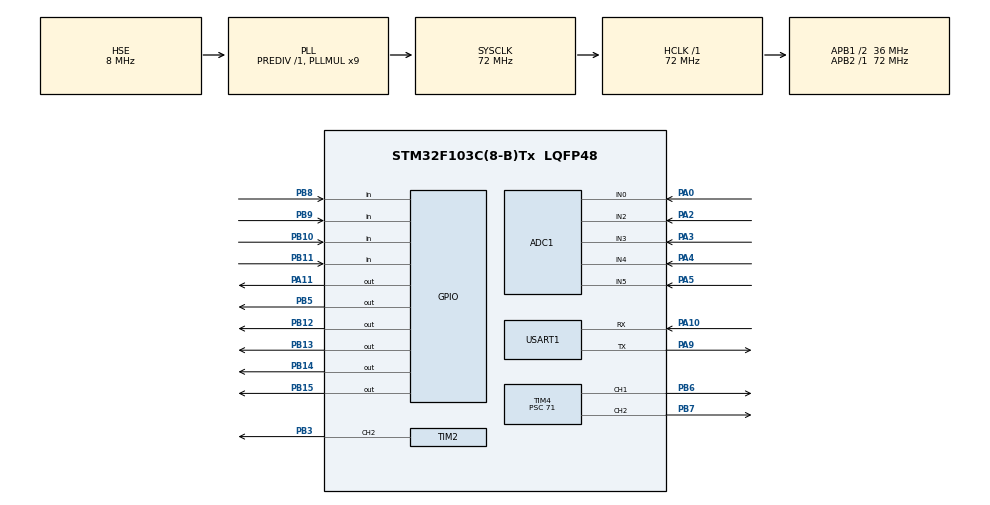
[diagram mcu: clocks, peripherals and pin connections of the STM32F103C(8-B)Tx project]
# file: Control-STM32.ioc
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ADC1.Channel-0\#ChannelRegularConversion=ADC_CHANNEL_0
ADC1.Channel-1\#ChannelRegularConversion=ADC_CHANNEL_2
ADC1.Channel-2\#ChannelRegularConversion=ADC_CHANNEL_3
ADC1.Channel-3\#ChannelRegularConversion=ADC_CHANNEL_4
ADC1.Channel-4\#ChannelRegularConversion=ADC_CHANNEL_5
ADC1.ContinuousConvMode=ENABLE
ADC1.NbrOfConversion=5
ADC1.NbrOfConversionFlag=1
ADC1.Rank-0\#ChannelRegularConversion=1
ADC1.Rank-1\#ChannelRegularConversion=2
ADC1.Rank-2\#ChannelRegularConversion=3
ADC1.Rank-3\#ChannelRegularConversion=4
ADC1.Rank-4\#ChannelRegularConversion=5
ADC1.SamplingTime-0\#ChannelRegularConversion=ADC_SAMPLETIME_71CYCLES_5
ADC1.SamplingTime-1\#ChannelRegularConversion=ADC_SAMPLETIME_71CYCLES_5
ADC1.SamplingTime-2\#ChannelRegularConversion=ADC_SAMPLETIME_71CYCLES_5
ADC1.SamplingTime-3\#ChannelRegularConversion=ADC_SAMPLETIME_71CYCLES_5
ADC1.SamplingTime-4\#ChannelRegularConversion=ADC_SAMPLETIME_71CYCLES_5
ADC1.master=1
Dma.ADC1.0.Direction=DMA_PERIPH_TO_MEMORY
Dma.ADC1.0.Instance=DMA1_Channel1
Dma.ADC1.0.MemDataAlignment=DMA_MDATAALIGN_HALFWORD
Dma.ADC1.0.MemInc=DMA_MINC_ENABLE
Dma.ADC1.0.Mode=DMA_CIRCULAR
Dma.ADC1.0.PeriphDataAlignment=DMA_PDATAALIGN_HALFWORD
Dma.ADC1.0.PeriphInc=DMA_PINC_DISABLE
Dma.ADC1.0.Priority=DMA_PRIORITY_LOW
Dma.Request0=ADC1
Mcu.Family=STM32F1
Mcu.Name=STM32F103C(8-B)Tx
Mcu.Package=LQFP48
NVIC.DMA1_Channel1_IRQn=true\:0\:0\:false\:false\:true\:false\:true\:true
NVIC.PriorityGroup=NVIC_PRIORITYGROUP_4
NVIC.USART1_IRQn=true\:0\:0\:false\:false\:true\:true\:true\:true
PA0-WKUP.Signal=ADCx_IN0
PA10.Mode=Asynchronous
PA10.Signal=USART1_RX
PA11.Signal=GPIO_Output
PA13.Mode=Serial_Wire
PA13.Signal=SYS_JTMS-SWDIO
PA14.Mode=Serial_Wire
PA14.Signal=SYS_JTCK-SWCLK
PA2.Signal=ADCx_IN2
PA3.Signal=ADCx_IN3
PA4.Signal=ADCx_IN4
PA5.Signal=ADCx_IN5
PA9.Mode=Asynchronous
PA9.Signal=USART1_TX
PB10.Signal=GPIO_Input
PB11.Signal=GPIO_Input
PB12.Signal=GPIO_Output
PB13.Signal=GPIO_Output
PB14.Signal=GPIO_Output
PB15.Signal=GPIO_Output
PB3.Signal=S_TIM2_CH2
PB5.Signal=GPIO_Output
PB6.Signal=S_TIM4_CH1
PB7.Signal=S_TIM4_CH2
PB8.Signal=GPIO_Input
PB9.Signal=GPIO_Input
PD0-OSC_IN.Mode=HSE-External-Oscillator
PD0-OSC_IN.Signal=RCC_OSC_IN
PD1-OSC_OUT.Mode=HSE-External-Oscillator
PD1-OSC_OUT.Signal=RCC_OSC_OUT
ProjectManager.HeapSize=0x200
ProjectManager.StackSize=0x400
ProjectManager.TargetToolchain=CMake
RCC.ADCPresc=RCC_ADCPCLK2_DIV6
RCC.AHBFreq_Value=72000000
RCC.APB1CLKDivider=RCC_HCLK_DIV2
RCC.APB1Freq_Value=36000000
RCC.APB1TimFreq_Value=72000000
RCC.APB2Freq_Value=72000000
RCC.APB2TimFreq_Value=72000000
RCC.HCLKFreq_Value=72000000
RCC.PLLMUL=RCC_PLL_MUL9
RCC.PLLSourceVirtual=RCC_PLLSOURCE_HSE
RCC.SYSCLKFreq_VALUE=72000000
RCC.SYSCLKSource=RCC_SYSCLKSOURCE_PLLCLK
RCC.USBFreq_Value=72000000
SH.ADCx_IN0.0=ADC1_IN0,IN0
SH.ADCx_IN2.0=ADC1_IN2,IN2
SH.ADCx_IN3.0=ADC1_IN3,IN3
SH.ADCx_IN4.0=ADC1_IN4,IN4
SH.ADCx_IN5.0=ADC1_IN5,IN5
SH.S_TIM2_CH2.0=TIM2_CH2,PWM Generation2 CH2
SH.S_TIM4_CH1.0=TIM4_CH1,PWM Generation1 CH1
SH.S_TIM4_CH2.0=TIM4_CH2,PWM Generation2 CH2
TIM2.Channel-PWM\ Generation2\ CH2=TIM_CHANNEL_2
TIM2.Period=19999
TIM2.Prescaler=71
TIM3.Period=65535
TIM3.Prescaler=71
TIM4.Channel-PWM\ Generation1\ CH1=TIM_CHANNEL_1
TIM4.Channel-PWM\ Generation2\ CH2=TIM_CHANNEL_2
TIM4.Period=999
TIM4.Prescaler=71
USART1.VirtualMode=VM_ASYNC
VP_TIM2_VS_ClockSourceINT.Mode=Internal
VP_TIM3_VS_ClockSourceINT.Mode=Internal
VP_TIM4_VS_ClockSourceINT.Mode=Internal
board=custom

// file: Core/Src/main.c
/* USER CODE BEGIN Header */
  /**
    ******************************************************************************
    * @file           : main.c
    * @brief          : Main program body
    ******************************************************************************
    * @attention
    *
    * Copyright (c) 2026 STMicroelectronics.
    * All rights reserved.
    *
    * This software is licensed under terms that can be found in the LICENSE file
    * in the root directory of this software component.
    * If no LICENSE file comes with this software, it is provided AS-IS.
    *
    ******************************************************************************
    */
/* USER CODE END Header */
#include "main.h"
#include "string.h"
#include "stdio.h"
#include "math.h"

/* USER CODE BEGIN PD */
  #define IN1_PORT GPIOB
  #define IN1_PIN  GPIO_PIN_12
  #define IN2_PORT GPIOB
  #define IN2_PIN  GPIO_PIN_13
  #define IN3_PORT GPIOB
  #define IN3_PIN  GPIO_PIN_14
  #define IN4_PORT GPIOB
  #define IN4_PIN  GPIO_PIN_15

  #define RELAY_PORT GPIOA
  #define RELAY_PIN  GPIO_PIN_11

  #define TRIG_PORT GPIOB
  #define TRIG_PIN  GPIO_PIN_5

  #define ECHO1_PORT GPIOB
  #define ECHO1_PIN  GPIO_PIN_11

  #define ECHO2_PORT GPIOB
  #define ECHO2_PIN  GPIO_PIN_10

  #define ECHO3_PORT GPIOB
  #define ECHO3_PIN  GPIO_PIN_9

  #define ECHO4_PORT GPIOB
  #define ECHO4_PIN  GPIO_PIN_8
/* USER CODE END PD */

/* USER CODE BEGIN PM */
  #define NGUONG_DAP_LUA   4000
  #define NGUONG_THEO_LUA  1500
  #define LUA_ADC_GIAM_KHI_SANG 1
  #define LUA_DELTA_MIN    150
  uint16_t adc_tinh[5] = {0};
  float lua_loc[5] = {0};
  float TRONG_SO[5] = {-2.0, -1.0, 0.0, 1.0, 2.0};
  uint16_t gia_tri_adc[5];
  float goc_lech = 0;
  float cuong_do = 0;

  uint16_t kc_truoc = 0;
  uint16_t kc_trai = 0;
  uint16_t kc_phai = 0;
  uint16_t kc_sau = 0;
  int pwm_motor_trai = 0;
  int pwm_motor_phai = 0;
/* USER CODE END PM */

ADC_HandleTypeDef hadc1;
DMA_HandleTypeDef hdma_adc1;

TIM_HandleTypeDef htim2;
TIM_HandleTypeDef htim3;
TIM_HandleTypeDef htim4;

UART_HandleTypeDef huart1;

/* USER CODE BEGIN PV */
volatile char lenh_dieu_khien = '1';
uint32_t flame_sensor = 0;
uint32_t sieu_am = 0;
uint32_t gui_esp32 = 0;
/* USER CODE END PV */

void SystemClock_Config(void);
static void MX_GPIO_Init(void);
static void MX_DMA_Init(void);
static void MX_ADC1_Init(void);
static void MX_TIM2_Init(void);
static void MX_TIM3_Init(void);
static void MX_TIM4_Init(void);
static void MX_USART1_UART_Init(void);
  /* USER CODE BEGIN PFP */
  void do_lech(void);
  void Cap_nhat_servo_lua(void);
  void Di_chuyen(int v_L, int v_R);
  void Send_ESP32_Data(void);
  uint16_t HCSR04_Read_PB5(uint8_t id);
  void delay_us(uint16_t us);
  void Thuat_toan_vat_can(uint16_t d_trai, uint16_t d_truoc, uint16_t d_phai, uint16_t d_sau);
/* USER CODE END PFP */

int main(void)
{

  /* MCU Configuration--------------------------------------------------------*/

  /* Reset of all peripherals, Initializes the Flash interface and the Systick. */
  HAL_Init();

  /* Configure the system clock */
  SystemClock_Config();

  /* Initialize all configured peripherals */
  MX_GPIO_Init();
  MX_DMA_Init();
  MX_ADC1_Init();
  MX_TIM2_Init();
  MX_TIM3_Init();
  MX_TIM4_Init();
  MX_USART1_UART_Init();
  /* USER CODE BEGIN 2 */
  HAL_TIM_Base_Start(&htim3);
  HAL_ADC_Start_DMA(&hadc1, (uint32_t*)gia_tri_adc, 5);
  __HAL_AFIO_REMAP_SWJ_NOJTAG();
  HAL_TIM_PWM_Start(&htim2, TIM_CHANNEL_2);
  HAL_TIM_PWM_Start(&htim4, TIM_CHANNEL_1);
  HAL_TIM_PWM_Start(&htim4, TIM_CHANNEL_2);

  HAL_UART_Receive_IT(&huart1, (uint8_t*)&lenh_dieu_khien, 1);
  /* USER CODE END 2 */
  /* Infinite loop */
  /* USER CODE BEGIN WHILE */
  uint32_t thoi_gian_phun_nuoc = 0;
  uint32_t thoi_gian_cho_phun_lai = 0;
  uint8_t dang_phun_nuoc = 0;
  HAL_Delay(500);
  uint32_t sum[5] = {0};
  for (int s = 0; s < 100; s++) {
      for (int i = 0; i < 5; i++)
          sum[i] += gia_tri_adc[i];
      HAL_Delay(100);
  }
  for (int i = 0; i < 5; i++)
      adc_tinh[i] = sum[i] / 100;
    while (1)
    {
    uint32_t hien_tai = HAL_GetTick();
    if(hien_tai-flame_sensor >=20){
     do_lech();
     flame_sensor=hien_tai;
    }
    if(hien_tai-sieu_am >= 40)
    {
      static uint8_t step=1;
      if (step==1) kc_truoc = HCSR04_Read_PB5(1);
      else if (step==2) kc_trai = HCSR04_Read_PB5(2);
      else if (step==3) kc_phai = HCSR04_Read_PB5(3);
      else if (step==4) kc_sau = HCSR04_Read_PB5(4);
      step++; if (step > 4) step = 1;
      sieu_am = hien_tai;
    }
    if(hien_tai-gui_esp32 >= 150){
      Send_ESP32_Data();
      gui_esp32 = hien_tai;
     }
    if (lenh_dieu_khien == '1' )
      {
      if (cuong_do > NGUONG_THEO_LUA)
          {
              Cap_nhat_servo_lua();
          }

      if (dang_phun_nuoc)
          {
              Di_chuyen(0, 0);
              if (hien_tai - thoi_gian_phun_nuoc >= 1500)
              {
                  HAL_GPIO_WritePin(RELAY_PORT, RELAY_PIN, GPIO_PIN_RESET);
                  dang_phun_nuoc = 0;
                  thoi_gian_phun_nuoc = 0;
                  thoi_gian_cho_phun_lai = hien_tai;
              }
          }
      else if (cuong_do > NGUONG_DAP_LUA &&
               hien_tai - thoi_gian_cho_phun_lai >= 700)
          {
              Di_chuyen(0, 0);
              HAL_GPIO_WritePin(RELAY_PORT, RELAY_PIN, GPIO_PIN_SET);
              thoi_gian_phun_nuoc = hien_tai;
              dang_phun_nuoc = 1;
          }
      else if (cuong_do > NGUONG_DAP_LUA)
          {
              HAL_GPIO_WritePin(RELAY_PORT, RELAY_PIN, GPIO_PIN_RESET);
              Di_chuyen(0, 0);
          }
      else if (cuong_do > NGUONG_THEO_LUA)
          {
            HAL_GPIO_WritePin(RELAY_PORT, RELAY_PIN, GPIO_PIN_RESET);

              int chenh_lech = (int)(goc_lech * 9.0f);
              if (chenh_lech > 320) chenh_lech = 320;
              if (chenh_lech < -320) chenh_lech = -320;

              int v_L = 580 + chenh_lech;
              int v_R = 580 - chenh_lech;
              if (v_L > 850) v_L = 850;
              if (v_L < 250) v_L = 250;
              if (v_R > 850) v_R = 850;
              if (v_R < 250) v_R = 250;
              Di_chuyen(v_L, v_R);

          }
          else
          {

              HAL_GPIO_WritePin(RELAY_PORT, RELAY_PIN, GPIO_PIN_RESET);
              __HAL_TIM_SET_COMPARE(&htim2, TIM_CHANNEL_2, 1500);

              Thuat_toan_vat_can(kc_trai, kc_truoc, kc_phai, kc_sau);
          }
    }
    else
    {
      dang_phun_nuoc = 0;
      thoi_gian_phun_nuoc = 0;
      if (lenh_dieu_khien != 'P') HAL_GPIO_WritePin(RELAY_PORT, RELAY_PIN, GPIO_PIN_RESET);

      if (lenh_dieu_khien == 'F')
      {
          Di_chuyen(600, 600);
      }
      else if (lenh_dieu_khien == 'B')
      {
          Di_chuyen(-600, -600);
      }
      else if (lenh_dieu_khien == 'L')
      {
          Di_chuyen(-600, 600);
      }
      else if (lenh_dieu_khien == 'R')
      {
          Di_chuyen(600, -600);
      }
      else if (lenh_dieu_khien == 'P')
      {
          Di_chuyen(0, 0);
          HAL_GPIO_WritePin(RELAY_PORT, RELAY_PIN, GPIO_PIN_SET);
      }
      else if (lenh_dieu_khien == 'Q')
      {
          Di_chuyen(0, 0);
          uint32_t pwm = __HAL_TIM_GET_COMPARE(&htim2, TIM_CHANNEL_2);
          if (pwm <= 2450) __HAL_TIM_SET_COMPARE(&htim2, TIM_CHANNEL_2, pwm + 50);
          lenh_dieu_khien = '0';
      }
      else if (lenh_dieu_khien == 'E')
      {
          Di_chuyen(0, 0);
          uint32_t pwm = __HAL_TIM_GET_COMPARE(&htim2, TIM_CHANNEL_2);
          if (pwm >= 550) __HAL_TIM_SET_COMPARE(&htim2, TIM_CHANNEL_2, pwm - 50);
          lenh_dieu_khien = '0';
      }
      else
      {
          Di_chuyen(0, 0);
          HAL_GPIO_WritePin(RELAY_PORT, RELAY_PIN, GPIO_PIN_RESET);
      }
    }
  }

    /* USER CODE END WHILE */

    }
void SystemClock_Config(void)
{
  RCC_OscInitTypeDef RCC_OscInitStruct = {0};
  RCC_ClkInitTypeDef RCC_ClkInitStruct = {0};
  RCC_PeriphCLKInitTypeDef PeriphClkInit = {0};

  /** Initializes the RCC Oscillators according to the specified parameters
  * in the RCC_OscInitTypeDef structure.
  */
  RCC_OscInitStruct.OscillatorType = RCC_OSCILLATORTYPE_HSE;
  RCC_OscInitStruct.HSEState = RCC_HSE_ON;
  RCC_OscInitStruct.HSEPredivValue = RCC_HSE_PREDIV_DIV1;
  RCC_OscInitStruct.HSIState = RCC_HSI_ON;
  RCC_OscInitStruct.PLL.PLLState = RCC_PLL_ON;
  RCC_OscInitStruct.PLL.PLLSource = RCC_PLLSOURCE_HSE;
  RCC_OscInitStruct.PLL.PLLMUL = RCC_PLL_MUL9;
  if (HAL_RCC_OscConfig(&RCC_OscInitStruct) != HAL_OK)
  {
    Error_Handler();
  }

  /** Initializes the CPU, AHB and APB buses clocks
  */
  RCC_ClkInitStruct.ClockType = RCC_CLOCKTYPE_HCLK|RCC_CLOCKTYPE_SYSCLK
                              |RCC_CLOCKTYPE_PCLK1|RCC_CLOCKTYPE_PCLK2;
  RCC_ClkInitStruct.SYSCLKSource = RCC_SYSCLKSOURCE_PLLCLK;
  RCC_ClkInitStruct.AHBCLKDivider = RCC_SYSCLK_DIV1;
  RCC_ClkInitStruct.APB1CLKDivider = RCC_HCLK_DIV2;
  RCC_ClkInitStruct.APB2CLKDivider = RCC_HCLK_DIV1;

  if (HAL_RCC_ClockConfig(&RCC_ClkInitStruct, FLASH_LATENCY_2) != HAL_OK)
  {
    Error_Handler();
  }
  PeriphClkInit.PeriphClockSelection = RCC_PERIPHCLK_ADC;
  PeriphClkInit.AdcClockSelection = RCC_ADCPCLK2_DIV6;
  if (HAL_RCCEx_PeriphCLKConfig(&PeriphClkInit) != HAL_OK)
  {
    Error_Handler();
  }
}

static void MX_ADC1_Init(void)
{

  ADC_ChannelConfTypeDef sConfig = {0};

  /** Common config
  */
  hadc1.Instance = ADC1;
  hadc1.Init.ScanConvMode = ADC_SCAN_ENABLE;
  hadc1.Init.ContinuousConvMode = ENABLE;
  hadc1.Init.DiscontinuousConvMode = DISABLE;
  hadc1.Init.ExternalTrigConv = ADC_SOFTWARE_START;
  hadc1.Init.DataAlign = ADC_DATAALIGN_RIGHT;
  hadc1.Init.NbrOfConversion = 5;
  if (HAL_ADC_Init(&hadc1) != HAL_OK)
  {
    Error_Handler();
  }

  /** Configure Regular Channel
  */
  sConfig.Channel = ADC_CHANNEL_0;
  sConfig.Rank = ADC_REGULAR_RANK_1;
  sConfig.SamplingTime = ADC_SAMPLETIME_71CYCLES_5;
  if (HAL_ADC_ConfigChannel(&hadc1, &sConfig) != HAL_OK)
  {
    Error_Handler();
  }

  /** Configure Regular Channel
  */
  sConfig.Channel = ADC_CHANNEL_2;
  sConfig.Rank = ADC_REGULAR_RANK_2;
  if (HAL_ADC_ConfigChannel(&hadc1, &sConfig) != HAL_OK)
  {
    Error_Handler();
  }

  /** Configure Regular Channel
  */
  sConfig.Channel = ADC_CHANNEL_3;
  sConfig.Rank = ADC_REGULAR_RANK_3;
  if (HAL_ADC_ConfigChannel(&hadc1, &sConfig) != HAL_OK)
  {
    Error_Handler();
  }

  /** Configure Regular Channel
  */
  sConfig.Channel = ADC_CHANNEL_4;
  sConfig.Rank = ADC_REGULAR_RANK_4;
  if (HAL_ADC_ConfigChannel(&hadc1, &sConfig) != HAL_OK)
  {
    Error_Handler();
  }

  /** Configure Regular Channel
  */
  sConfig.Channel = ADC_CHANNEL_5;
  sConfig.Rank = ADC_REGULAR_RANK_5;
  if (HAL_ADC_ConfigChannel(&hadc1, &sConfig) != HAL_OK)
  {
    Error_Handler();
  }

}

static void MX_TIM2_Init(void)
{

  TIM_ClockConfigTypeDef sClockSourceConfig = {0};
  TIM_MasterConfigTypeDef sMasterConfig = {0};
  TIM_OC_InitTypeDef sConfigOC = {0};

  htim2.Instance = TIM2;
  htim2.Init.Prescaler = 71;
  htim2.Init.CounterMode = TIM_COUNTERMODE_UP;
  htim2.Init.Period = 19999;
  htim2.Init.ClockDivision = TIM_CLOCKDIVISION_DIV1;
  htim2.Init.AutoReloadPreload = TIM_AUTORELOAD_PRELOAD_DISABLE;
  if (HAL_TIM_Base_Init(&htim2) != HAL_OK)
  {
    Error_Handler();
  }
  sClockSourceConfig.ClockSource = TIM_CLOCKSOURCE_INTERNAL;
  if (HAL_TIM_ConfigClockSource(&htim2, &sClockSourceConfig) != HAL_OK)
  {
    Error_Handler();
  }
  if (HAL_TIM_PWM_Init(&htim2) != HAL_OK)
  {
    Error_Handler();
  }
  sMasterConfig.MasterOutputTrigger = TIM_TRGO_RESET;
  sMasterConfig.MasterSlaveMode = TIM_MASTERSLAVEMODE_DISABLE;
  if (HAL_TIMEx_MasterConfigSynchronization(&htim2, &sMasterConfig) != HAL_OK)
  {
    Error_Handler();
  }
  sConfigOC.OCMode = TIM_OCMODE_PWM1;
  sConfigOC.Pulse = 0;
  sConfigOC.OCPolarity = TIM_OCPOLARITY_HIGH;
  sConfigOC.OCFastMode = TIM_OCFAST_DISABLE;
  if (HAL_TIM_PWM_ConfigChannel(&htim2, &sConfigOC, TIM_CHANNEL_2) != HAL_OK)
  {
    Error_Handler();
  }
  HAL_TIM_MspPostInit(&htim2);

}

static void MX_TIM3_Init(void)
{

  TIM_ClockConfigTypeDef sClockSourceConfig = {0};
  TIM_MasterConfigTypeDef sMasterConfig = {0};

  htim3.Instance = TIM3;
  htim3.Init.Prescaler = 71;
  htim3.Init.CounterMode = TIM_COUNTERMODE_UP;
  htim3.Init.Period = 65535;
  htim3.Init.ClockDivision = TIM_CLOCKDIVISION_DIV1;
  htim3.Init.AutoReloadPreload = TIM_AUTORELOAD_PRELOAD_DISABLE;
  if (HAL_TIM_Base_Init(&htim3) != HAL_OK)
  {
    Error_Handler();
  }
  sClockSourceConfig.ClockSource = TIM_CLOCKSOURCE_INTERNAL;
  if (HAL_TIM_ConfigClockSource(&htim3, &sClockSourceConfig) != HAL_OK)
  {
    Error_Handler();
  }
  sMasterConfig.MasterOutputTrigger = TIM_TRGO_RESET;
  sMasterConfig.MasterSlaveMode = TIM_MASTERSLAVEMODE_DISABLE;
  if (HAL_TIMEx_MasterConfigSynchronization(&htim3, &sMasterConfig) != HAL_OK)
  {
    Error_Handler();
  }

}

static void MX_TIM4_Init(void)
{

  TIM_ClockConfigTypeDef sClockSourceConfig = {0};
  TIM_MasterConfigTypeDef sMasterConfig = {0};
  TIM_OC_InitTypeDef sConfigOC = {0};

  htim4.Instance = TIM4;
  htim4.Init.Prescaler = 71;
  htim4.Init.CounterMode = TIM_COUNTERMODE_UP;
  htim4.Init.Period = 999;
  htim4.Init.ClockDivision = TIM_CLOCKDIVISION_DIV1;
  htim4.Init.AutoReloadPreload = TIM_AUTORELOAD_PRELOAD_DISABLE;
  if (HAL_TIM_Base_Init(&htim4) != HAL_OK)
  {
    Error_Handler();
  }
  sClockSourceConfig.ClockSource = TIM_CLOCKSOURCE_INTERNAL;
  if (HAL_TIM_ConfigClockSource(&htim4, &sClockSourceConfig) != HAL_OK)
  {
    Error_Handler();
  }
  if (HAL_TIM_PWM_Init(&htim4) != HAL_OK)
  {
    Error_Handler();
  }
  sMasterConfig.MasterOutputTrigger = TIM_TRGO_RESET;
  sMasterConfig.MasterSlaveMode = TIM_MASTERSLAVEMODE_DISABLE;
  if (HAL_TIMEx_MasterConfigSynchronization(&htim4, &sMasterConfig) != HAL_OK)
  {
    Error_Handler();
  }
  sConfigOC.OCMode = TIM_OCMODE_PWM1;
  sConfigOC.Pulse = 0;
  sConfigOC.OCPolarity = TIM_OCPOLARITY_HIGH;
  sConfigOC.OCFastMode = TIM_OCFAST_DISABLE;
  if (HAL_TIM_PWM_ConfigChannel(&htim4, &sConfigOC, TIM_CHANNEL_1) != HAL_OK)
  {
    Error_Handler();
  }
  if (HAL_TIM_PWM_ConfigChannel(&htim4, &sConfigOC, TIM_CHANNEL_2) != HAL_OK)
  {
    Error_Handler();
  }
  HAL_TIM_MspPostInit(&htim4);

}

static void MX_USART1_UART_Init(void)
{

  huart1.Instance = USART1;
  huart1.Init.BaudRate = 115200;
  huart1.Init.WordLength = UART_WORDLENGTH_8B;
  huart1.Init.StopBits = UART_STOPBITS_1;
  huart1.Init.Parity = UART_PARITY_NONE;
  huart1.Init.Mode = UART_MODE_TX_RX;
  huart1.Init.HwFlowCtl = UART_HWCONTROL_NONE;
  huart1.Init.OverSampling = UART_OVERSAMPLING_16;
  if (HAL_UART_Init(&huart1) != HAL_OK)
  {
    Error_Handler();
  }

}

static void MX_DMA_Init(void)
{

  /* DMA controller clock enable */
  __HAL_RCC_DMA1_CLK_ENABLE();

  /* DMA interrupt init */
  /* DMA1_Channel1_IRQn interrupt configuration */
  HAL_NVIC_SetPriority(DMA1_Channel1_IRQn, 0, 0);
  HAL_NVIC_EnableIRQ(DMA1_Channel1_IRQn);

}

static void MX_GPIO_Init(void)
{
  GPIO_InitTypeDef GPIO_InitStruct = {0};

  /* GPIO Ports Clock Enable */
  __HAL_RCC_GPIOD_CLK_ENABLE();
  __HAL_RCC_GPIOA_CLK_ENABLE();
  __HAL_RCC_GPIOB_CLK_ENABLE();

  /*Configure GPIO pin Output Level */
  HAL_GPIO_WritePin(GPIOB, GPIO_PIN_12|GPIO_PIN_13|GPIO_PIN_14|GPIO_PIN_15
                          |GPIO_PIN_5, GPIO_PIN_RESET);

  /*Configure GPIO pin Output Level */
  HAL_GPIO_WritePin(GPIOA, GPIO_PIN_11, GPIO_PIN_RESET);

  /*Configure GPIO pins : PB10 PB11 PB8 PB9 */
  GPIO_InitStruct.Pin = GPIO_PIN_10|GPIO_PIN_11|GPIO_PIN_8|GPIO_PIN_9;
  GPIO_InitStruct.Mode = GPIO_MODE_INPUT;
  GPIO_InitStruct.Pull = GPIO_NOPULL;
  HAL_GPIO_Init(GPIOB, &GPIO_InitStruct);

  /*Configure GPIO pins : PB12 PB13 PB14 PB15
                           PB5 */
  GPIO_InitStruct.Pin = GPIO_PIN_12|GPIO_PIN_13|GPIO_PIN_14|GPIO_PIN_15
                          |GPIO_PIN_5;
  GPIO_InitStruct.Mode = GPIO_MODE_OUTPUT_PP;
  GPIO_InitStruct.Pull = GPIO_NOPULL;
  GPIO_InitStruct.Speed = GPIO_SPEED_FREQ_LOW;
  HAL_GPIO_Init(GPIOB, &GPIO_InitStruct);

  /*Configure GPIO pin : PA11 */
  GPIO_InitStruct.Pin = GPIO_PIN_11;
  GPIO_InitStruct.Mode = GPIO_MODE_OUTPUT_PP;
  GPIO_InitStruct.Pull = GPIO_NOPULL;
  GPIO_InitStruct.Speed = GPIO_SPEED_FREQ_LOW;
  HAL_GPIO_Init(GPIOA, &GPIO_InitStruct);

}

/* USER CODE BEGIN 4 */
  void do_lech(void)
  {
      float tong = 0;
      float tong_trong_so = 0;

      for (int i = 0; i < 5; i++) {
        int32_t delta;

        if (LUA_ADC_GIAM_KHI_SANG) {
            delta = (int32_t)adc_tinh[i] - (int32_t)gia_tri_adc[i];
        } else {
            delta = (int32_t)gia_tri_adc[i] - (int32_t)adc_tinh[i];
        }

        if (delta < LUA_DELTA_MIN) delta = 0;
        lua_loc[i] = lua_loc[i] * 0.65f + (float)delta * 0.35f;

        if (lua_loc[i] > LUA_DELTA_MIN) {
            tong += lua_loc[i];
            tong_trong_so += lua_loc[i] * TRONG_SO[i];
        }
      }

      cuong_do = cuong_do * 0.7f + tong * 0.3f;
      if (tong > NGUONG_THEO_LUA) {
          float goc_moi = (tong_trong_so / tong) * 30.0f;
          goc_lech = goc_lech * 0.65f + goc_moi * 0.35f;
      } else {
          goc_lech *= 0.8f;
      }
      }

  void Cap_nhat_servo_lua(void)
  {
      int servo_pwm = 1500 + (int)(goc_lech * 11.0f);
      if (servo_pwm > 1850) servo_pwm = 1850;
      if (servo_pwm < 1150) servo_pwm = 1150;
      __HAL_TIM_SET_COMPARE(&htim2, TIM_CHANNEL_2, servo_pwm);
  }

  void Di_chuyen(int v_L, int v_R)
  {
      pwm_motor_trai = v_L;
      pwm_motor_phai = v_R;

      if (v_R >= 0) {
          HAL_GPIO_WritePin(IN1_PORT, IN1_PIN, GPIO_PIN_SET);
          HAL_GPIO_WritePin(IN2_PORT, IN2_PIN, GPIO_PIN_RESET);
          __HAL_TIM_SET_COMPARE(&htim4, TIM_CHANNEL_1, v_R);
      } else {
          HAL_GPIO_WritePin(IN1_PORT, IN1_PIN, GPIO_PIN_RESET);
          HAL_GPIO_WritePin(IN2_PORT, IN2_PIN, GPIO_PIN_SET);
          __HAL_TIM_SET_COMPARE(&htim4, TIM_CHANNEL_1, -v_R);
      }

      if (v_L >= 0) {
          HAL_GPIO_WritePin(IN3_PORT, IN3_PIN, GPIO_PIN_SET);
          HAL_GPIO_WritePin(IN4_PORT, IN4_PIN, GPIO_PIN_RESET);
          __HAL_TIM_SET_COMPARE(&htim4, TIM_CHANNEL_2, v_L);
      } else {
          HAL_GPIO_WritePin(IN3_PORT, IN3_PIN, GPIO_PIN_RESET);
          HAL_GPIO_WritePin(IN4_PORT, IN4_PIN, GPIO_PIN_SET);
          __HAL_TIM_SET_COMPARE(&htim4, TIM_CHANNEL_2, -v_L);
      }
  }
  void Send_ESP32_Data(void) {
      char data[160];
      sprintf(data, "{\"C\":%d,\"G\":%d,\"F\":%d,\"L\":%d,\"R\":%d,\"B\":%d}\n",
              (int)cuong_do, (int)goc_lech, kc_truoc, kc_trai, kc_phai, kc_sau);
      HAL_UART_Transmit(&huart1, (uint8_t*)data, strlen(data), 100);
  }
  void HAL_UART_RxCpltCallback(UART_HandleTypeDef *huart)
  {
    if (huart->Instance == USART1)
    {
        HAL_UART_Receive_IT(&huart1, (uint8_t*)&lenh_dieu_khien, 1);
    }
  }
  uint16_t HCSR04_Read_PB5(uint8_t id)
  {
      uint16_t echo_pin;
      if (id == 1) echo_pin = ECHO1_PIN;
      else if (id == 2) echo_pin = ECHO2_PIN;
      else if (id == 3) echo_pin = ECHO3_PIN;
      else echo_pin = ECHO4_PIN;

      HAL_GPIO_WritePin(TRIG_PORT, TRIG_PIN, GPIO_PIN_SET);
      delay_us(10);
      HAL_GPIO_WritePin(TRIG_PORT, TRIG_PIN, GPIO_PIN_RESET);

      uint32_t timeout = 0;
      while (!(HAL_GPIO_ReadPin(GPIOB, echo_pin))) {
          timeout++; if (timeout > 5000) return 999;
      }
      __HAL_TIM_SET_COUNTER(&htim3, 0);
      while (HAL_GPIO_ReadPin(GPIOB, echo_pin)) {
          if (__HAL_TIM_GET_COUNTER(&htim3) > 30000) break;
      }
      return (uint16_t)(__HAL_TIM_GET_COUNTER(&htim3) * 0.017);
  }
  void delay_us(uint16_t us)
  {
      __HAL_TIM_SET_COUNTER(&htim3, 0);
      while (__HAL_TIM_GET_COUNTER(&htim3) < us);
  }

float gioi_han(float x, float min, float max) {
    if (x < min) return min;
    if (x > max) return max;
    return x;
}

uint16_t loc_khoang_cach(uint16_t d, uint16_t gia_tri_cu) {
    if (d == 0 || d > 250) return gia_tri_cu;
    return d;
}

float cap_nhat_khoang_cach_loc(float gia_tri_cu, uint16_t gia_tri_moi) {
    if ((float)gia_tri_moi < gia_tri_cu) {
        return gia_tri_cu * 0.25f + (float)gia_tri_moi * 0.75f;
    }
    return gia_tri_cu * 0.7f + (float)gia_tri_moi * 0.3f;
}

int gioi_han_toc_do(int hien_tai, int muc_tieu, int buoc) {
    if (muc_tieu > hien_tai + buoc) return hien_tai + buoc;
    if (muc_tieu < hien_tai - buoc) return hien_tai - buoc;
    return muc_tieu;
}

float tinh_do_gan_truoc(float d) {
    if (d <= 20.0f) return 1.0f;
    if (d >= 44.0f) return 0.0f;
    return (44.0f - d) / 24.0f;
}

float tinh_do_gan_ben(float d) {
    if (d <= 20.0f) return 1.0f;
    if (d >= 36.0f) return 0.0f;
    return (36.0f - d) / 16.0f;
}

float tinh_do_gan_sau(float d) {
    if (d <= 20.0f) return 1.0f;
    if (d >= 36.0f) return 0.0f;
    return (36.0f - d) / 16.0f;
}

void Thuat_toan_vat_can(uint16_t d_trai, uint16_t d_truoc, uint16_t d_phai, uint16_t d_sau)
{
    static float d_trai_loc  = 60.0f;
    static float d_truoc_loc = 60.0f;
    static float d_phai_loc  = 60.0f;
    static float d_sau_loc   = 60.0f;
    static int v_L_cu = 0;
    static int v_R_cu = 0;
    static int huong_ne = 1;

    d_trai  = loc_khoang_cach(d_trai,  (uint16_t)d_trai_loc);
    d_truoc = loc_khoang_cach(d_truoc, (uint16_t)d_truoc_loc);
    d_phai  = loc_khoang_cach(d_phai,  (uint16_t)d_phai_loc);
    d_sau   = loc_khoang_cach(d_sau,   (uint16_t)d_sau_loc);

    d_trai_loc  = cap_nhat_khoang_cach_loc(d_trai_loc,  d_trai);
    d_truoc_loc = cap_nhat_khoang_cach_loc(d_truoc_loc, d_truoc);
    d_phai_loc  = cap_nhat_khoang_cach_loc(d_phai_loc,  d_phai);
    d_sau_loc   = cap_nhat_khoang_cach_loc(d_sau_loc,   d_sau);

    // Chốt hướng né chống lắc
    float sai_so = d_phai_loc - d_trai_loc;
    if (d_truoc_loc >= 40.0f)
    {
        if (fabsf(sai_so) > 8.0f)
        {
            huong_ne = (sai_so > 0) ? 1 : -1;
        }
    }

    // --- XỬ LÝ LỆNH CỨNG (SÁT VẬT CẢN) ---

    if (d_truoc_loc <= 21.0f)
    {
        v_L_cu = -600; // Tăng lại lực lùi để thoát lẹ
        v_R_cu = -600;
        Di_chuyen(v_L_cu, v_R_cu);
        return;
    }

    if (d_truoc_loc <= 32.0f)
    {
        if (huong_ne < 0) { v_L_cu = -600; v_R_cu =  600; }
        else              { v_L_cu =  600; v_R_cu = -600; }
        Di_chuyen(v_L_cu, v_R_cu);
        return;
    }

    if (d_trai_loc <= 20.0f && d_phai_loc <= 20.0f)
    {
        v_L_cu = -550;
        v_R_cu = -550;
        Di_chuyen(v_L_cu, v_R_cu);
        return;
    }

    if (d_trai_loc <= 14.0f || d_phai_loc <= 14.0f)
    {
        // Vẫn giữ số dương để chạy tới nhưng tăng lực
        if (d_trai_loc < d_phai_loc) { v_L_cu = 650; v_R_cu = 250; }
        else                         { v_L_cu = 250; v_R_cu = 650; }
        Di_chuyen(v_L_cu, v_R_cu);
        return;
    }

    if (d_trai_loc <= 25.0f && d_phai_loc > d_trai_loc + 6.0f)
    {
        v_L_cu = 650;
        v_R_cu = 350;
        Di_chuyen(v_L_cu, v_R_cu);
        return;
    }

    if (d_phai_loc <= 25.0f && d_trai_loc > d_phai_loc + 6.0f)
    {
        v_L_cu = 350;
        v_R_cu = 650;
        Di_chuyen(v_L_cu, v_R_cu);
        return;
    }

    // --- FUZZY LOGIC (NE MƯỢT TỪ XA) ---

    float L_gan = tinh_do_gan_ben(d_trai_loc);
    float L_xa  = 1.0f - L_gan;
    float F_gan = tinh_do_gan_truoc(d_truoc_loc);
    float F_xa  = 1.0f - F_gan;
    float R_gan = tinh_do_gan_ben(d_phai_loc);
    float R_xa  = 1.0f - R_gan;
    float B_gan = tinh_do_gan_sau(d_sau_loc);
    float B_xa  = 1.0f - B_gan;

    float W1 = L_xa * F_xa * R_xa;
    float W2 = L_gan * F_xa * R_xa;
    float W3 = L_xa * F_xa * R_gan;
    float W4 = L_xa * F_gan * R_xa;
    float W5 = L_gan * F_gan * R_xa;
    float W6 = L_xa * F_gan * R_gan;
    float W7 = L_gan * F_xa * R_gan;
    float W8 = L_gan * F_gan * R_gan * B_xa;
    float W9 = L_gan * F_gan * R_gan * B_gan;

    // Đẩy PWM base lên 650, PWM rẽ tối thiểu là 250-280 để bánh đủ lực lăn
    float L_pwm[] = {650,  680,  280,  650,  680,  250,  500, -550,    0};
    float R_pwm[] = {650,  280,  680, -650,  250,  680,  500, -550,    0};

    if (huong_ne < 0) { // Né TRÁI
        L_pwm[3] =  250; R_pwm[3] =  680;
        L_pwm[7] = -400; R_pwm[7] = -550;
        L_pwm[8] = -550; R_pwm[8] =  550;
    } else {            // Né PHẢI
        L_pwm[3] =  680; R_pwm[3] =  250;
        L_pwm[7] = -550; R_pwm[7] = -400;
        L_pwm[8] =  550; R_pwm[8] = -550;
    }

    float tong_W = W1+W2+W3+W4+W5+W6+W7+W8+W9;
    if (tong_W == 0) tong_W = 1;

    float v_L = (W1*L_pwm[0] + W2*L_pwm[1] + W3*L_pwm[2] + W4*L_pwm[3] +
                 W5*L_pwm[4] + W6*L_pwm[5] + W7*L_pwm[6] + W8*L_pwm[7] +
                 W9*L_pwm[8]) / tong_W;
    float v_R = (W1*R_pwm[0] + W2*R_pwm[1] + W3*R_pwm[2] + W4*R_pwm[3] +
                 W5*R_pwm[4] + W6*R_pwm[5] + W7*R_pwm[6] + W8*R_pwm[7] +
                 W9*R_pwm[8]) / tong_W;

    // Giới hạn xả lại lên 680
    v_L = gioi_han(v_L, -680.0f, 680.0f);
    v_R = gioi_han(v_R, -680.0f, 680.0f);

    // Kéo bước gia tốc lên 150 để robot vọt nhanh hơn, không bị lề mề
    v_L_cu = gioi_han_toc_do(v_L_cu, (int)v_L, 150);
    v_R_cu = gioi_han_toc_do(v_R_cu, (int)v_R, 150);

    Di_chuyen(v_L_cu, v_R_cu);
}
/* USER CODE END 4 */

void Error_Handler(void)
{
    __disable_irq();
    while (1)
    {
    }
}
